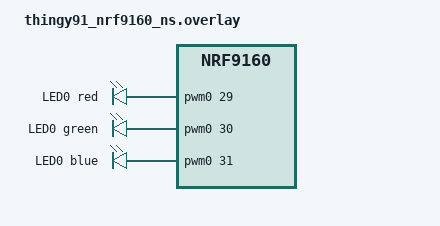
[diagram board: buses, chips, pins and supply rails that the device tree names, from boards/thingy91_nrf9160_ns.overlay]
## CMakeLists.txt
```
cmake_minimum_required(VERSION 3.20.0)

set(CMAKE_CXX_STANDARD 11)
set(CMAKE_CXX_STANDARD_REQUIRED ON)
set(CONFIG_LIB_CPLUSPLUS ON)
set(CONFIG_NEWLIB_LIBC ON)

find_package(Zephyr REQUIRED HINTS $ENV{ZEPHYR_BASE})
project(adxl362)

target_sources(app PRIVATE src/main.cpp)


if(NOT TARGET app)
     message(FATAL_ERROR "Please create a target named 'app' (ex: add_executable(app)) before adding this file")
endif()

include(edge-impulse-sdk/cmake/utils.cmake)
add_subdirectory(edge-impulse-sdk/cmake/zephyr)

RECURSIVE_FIND_FILE_APPEND(MODEL_SOURCE "tflite-model" "*.cpp")
target_include_directories(app PRIVATE .)
```

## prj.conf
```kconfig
# CONFIG_STDOUT_CONSOLE=y
CONFIG_UART_CONSOLE=y
CONFIG_LOG=y
CONFIG_BOOTLOADER_MCUBOOT=y
CONFIG_SERIAL=y
CONFIG_SPI=y
CONFIG_SENSOR=y
CONFIG_ADXL362=y
CONFIG_ADXL362_TRIGGER_GLOBAL_THREAD=y
CONFIG_ADXL362_INTERRUPT_MODE=1
CONFIG_ADXL362_ABS_REF_MODE=1
CONFIG_CBPRINTF_FP_SUPPORT=y

# Event Manager
CONFIG_EVENT_MANAGER=y
CONFIG_LINKER_ORPHAN_SECTION_PLACE=y
CONFIG_EVENT_MANAGER_LOG_EVENT_TYPE=n

# Enable C++ support
CONFIG_CPLUSPLUS=y
CONFIG_LIB_CPLUSPLUS=y
CONFIG_NEWLIB_LIBC=y
CONFIG_NEWLIB_LIBC_FLOAT_PRINTF=y
CONFIG_FPU=y

CONFIG_MAIN_STACK_SIZE=8192
CONFIG_CONSOLE_SUBSYS=y
CONFIG_CONSOLE_GETLINE=y

# CAF - Common Application Framework
CONFIG_CAF=y
CONFIG_LED=y
CONFIG_CAF_LEDS=y
CONFIG_PWM=y
CONFIG_LED_PWM=y
CONFIG_CAF_LEDS_PWM=y
```

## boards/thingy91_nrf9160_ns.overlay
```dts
/*
 * Copyright (c) 2021 Nordic Semiconductor ASA
 *
 * SPDX-License-Identifier: LicenseRef-Nordic-5-Clause
 */

 / {
	pwmleds0 {
		compatible = "pwm-leds";
		status = "okay";
		pwm_led0: led_pwm_0 {
			status = "okay";
			pwms = <&pwm0 29>;
			label = "LED0 red";
		};
		pwm_led1: led_pwm_1 {
			status = "okay";
			pwms = <&pwm0 30>;
			label = "LED0 green";
		};
		pwm_led2: led_pwm_2 {
			status = "okay";
			pwms = <&pwm0 31>;
			label = "LED0 blue";
		};
	};
};
```

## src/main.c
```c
/*
 * Copyright (c) 2019 Brett Witherspoon
 *
 * SPDX-License-Identifier: Apache-2.0
 */

#include <zephyr.h>
#include <sys/printk.h>
#include <devicetree.h>
#include <drivers/gpio.h>
//#include <stdio.h>
#include <device.h>
#include <drivers/sensor.h>




/* The devicetree node identifier for the nodelabel in the dts file. */
#define SW0_NODE DT_ALIAS(sw0)

#if !DT_NODE_HAS_STATUS(SW0_NODE, okay)
#error "Unsupported board: sw0 devicetree alias is not defined"
#endif

static const struct gpio_dt_spec button = GPIO_DT_SPEC_GET_OR(SW0_NODE, gpios,
							      {0});
static struct gpio_callback button_cb_data;


/* The devicetree node identifier for the nodelabel in the dts file. */
#define LED0_NODE DT_ALIAS(led0)

#if DT_NODE_HAS_STATUS(LED0_NODE, okay)
#define LED0	DT_GPIO_LABEL(LED0_NODE, gpios)
#define PIN		DT_GPIO_PIN(LED0_NODE, gpios)
#define FLAGS	DT_GPIO_FLAGS(LED0_NODE, gpios)
#else
/* A build error here means your board isn't set up to blink an LED. */
#error "Unsupported board: led0 devicetree alias is not defined"
#define LED0	""
#define PIN	0
#define FLAGS	0
#endif

/* The devicetree node identifier for the nodelabel in the dts file. */
#define LED1_NODE DT_ALIAS(led1)

#if DT_NODE_HAS_STATUS(LED1_NODE, okay)
#define LED0	DT_GPIO_LABEL(LED1_NODE, gpios)
#define PIN		DT_GPIO_PIN(LED1_NODE, gpios)
#define FLAGS	DT_GPIO_FLAGS(LED1_NODE, gpios)
#else
/* A build error here means your board isn't set up to blink an LED. */
#error "Unsupported board: led0 devicetree alias is not defined"
#define LED0	""
#define PIN	0
#define FLAGS	0
#endif

#define TIMER_INTERVAL_MSEC 60
#define TOTAL_DATA_POINTS 3000

K_SEM_DEFINE(sem, 0, 1);

struct k_timer data_sampling_timer;

bool collect_data_flag;
int count;

const struct device *dev;
struct sensor_value accel[3];

const struct device *ledred;
const struct device *ledgreen;

/*
	Sample the IMU
	@returns 0 if okay, otherwise returns 1

*/

static int imu_sample(void) {

	if (sensor_channel_get(dev, SENSOR_CHAN_ACCEL_X, &accel[0]) < 0) {
		printf("Channel get error\n");
		return 1;
	}

	if (sensor_channel_get(dev, SENSOR_CHAN_ACCEL_Y, &accel[1]) < 0) {
		printf("Channel get error\n");
		return 1;
	}

	if (sensor_channel_get(dev, SENSOR_CHAN_ACCEL_Z, &accel[2]) < 0) {
		printf("Channel get error\n");
		return 1;
	}

	printf("x: %.1f, y: %.1f, z: %.1f (m/s^2)\n",
		sensor_value_to_double(&accel[0]),
		sensor_value_to_double(&accel[1]),
		sensor_value_to_double(&accel[2]));
		count++;
		gpio_pin_set(ledred, PIN, true);

	return 0;

}

void imu_sample_event(struct k_timer *timer_id){
    int err = imu_sample();
    if (err) {
        printk("Error in adc sampling: %d\n", err);
    }
}

/*
	Interrput handler for the button
*/

void button_pressed(const struct device *dev, struct gpio_callback *cb,
		    uint32_t pins)
{
	collect_data_flag = true;	// set flag to collect data
	count = 0; 					// reset count

	// start timer for data sampling
	k_timer_start(&data_sampling_timer, K_MSEC(TIMER_INTERVAL_MSEC), K_MSEC(TIMER_INTERVAL_MSEC));

	// printk("Button pressed at %" PRIu32 "\n", k_cycle_get_32());

}

static void trigger_handler(const struct device *dev,
			    const struct sensor_trigger *trig)
{
	switch (trig->type) {
	case SENSOR_TRIG_DATA_READY:
		if (sensor_sample_fetch(dev) < 0) {
			printf("Sample fetch error\n");
			return;
		}
		k_sem_give(&sem);
		break;
	case SENSOR_TRIG_THRESHOLD:
		printf("Threshold trigger\n");
		break;
	case SENSOR_TRIG_FREEFALL:
		printf("Freefall trigger\n");
		break;
	default:
		printf("Unknown trigger\n");
	}
}

void main(void)
{
	// start a timer to sample the imu at a set interval
	k_timer_init(&data_sampling_timer, imu_sample_event, NULL);
	

	// set up LED
	int ret;
	bool led_on = true;
	
	ledred = device_get_binding(LED0);
	if (ledred==NULL) {
		printk("No device found!");
		return;
	}
	ret = gpio_pin_configure(ledred,PIN, GPIO_OUTPUT_ACTIVE | FLAGS);

	if (ret<0 ){
		return;
	}
	// gpio_pin_set(ledred, PIN, true);

	ledgreen = device_get_binding(LED0);
	if (ledgreen==NULL) {
		printk("No device found!");
		return;
	}
	ret = gpio_pin_configure(ledgreen,PIN, GPIO_OUTPUT_ACTIVE | FLAGS);

	if (ret<0 ){
		return;
	}

	gpio_pin_set(ledgreen, PIN, true);


	
	collect_data_flag = false;
	count = 0; // reset count

	// set up Buttons
	
	if (!device_is_ready(button.port)) {
		printk("Error: button device %s is not ready\n",
		       button.port->name);
		return;
	}

	ret = gpio_pin_configure_dt(&button, GPIO_INPUT);
	if (ret != 0) {
		printk("Error %d: failed to configure %s pin %d\n",
		       ret, button.port->name, button.pin);
		return;
	}

	ret = gpio_pin_interrupt_configure_dt(&button,
					      GPIO_INT_EDGE_TO_ACTIVE);
	if (ret != 0) {
		printk("Error %d: failed to configure interrupt on %s pin %d\n",
			ret, button.port->name, button.pin);
		return;
	}

	gpio_init_callback(&button_cb_data, button_pressed, BIT(button.pin));
	gpio_add_callback(button.port, &button_cb_data);


	// set up IMU

	dev = device_get_binding(DT_LABEL(DT_INST(0, adi_adxl362)));
	if (dev == NULL) {
		printf("Device get binding device\n");
		return;
	}

	if (IS_ENABLED(CONFIG_ADXL362_TRIGGER)) {
		struct sensor_trigger trig = { .chan = SENSOR_CHAN_ACCEL_XYZ };

		trig.type = SENSOR_TRIG_THRESHOLD;
		if (sensor_trigger_set(dev, &trig, trigger_handler)) {
			printf("Trigger set error\n");
			return;
		}

		trig.type = SENSOR_TRIG_DATA_READY;
		if (sensor_trigger_set(dev, &trig, trigger_handler)) {
			printf("Trigger set error\n");
		}

		trig.type = SENSOR_TRIG_FREEFALL;
		if (sensor_trigger_set(dev, &trig, trigger_handler)) {
			printf("Trigger set error\n");
		}
	}

	gpio_pin_set(ledgreen, PIN, false);	// setup complete
	k_sleep(K_MSEC(1000));

	while (true) {
		if (IS_ENABLED(CONFIG_ADXL362_TRIGGER)) {
			k_sem_take(&sem, K_FOREVER);
		} else {
			
			k_sleep(K_MSEC(1000));
			if (sensor_sample_fetch(dev) < 0) {
				printf("Sample fetch error\n");
				return;
			}	
		}

		// if the collect_data_flag has been set and 

		if (collect_data_flag && count < TOTAL_DATA_POINTS ) {
			// continue to collect data
			gpio_pin_set(ledred, PIN, true);
		}
		else if (collect_data_flag && (count >= TOTAL_DATA_POINTS) ) {
			// stop the periodic timer
			k_timer_stop(&data_sampling_timer);
			collect_data_flag = false;
			gpio_pin_set(ledred, PIN, false);
		}
			
	}
}
```

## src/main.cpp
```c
/*
 * Copyright (c) 2019 Brett Witherspoon
 *
 * SPDX-License-Identifier: Apache-2.0
 */


//#define LTE_ON // turn on LTE for the device


#include <zephyr.h>
#include <sys/printk.h>
#include <devicetree.h>
#include <drivers/gpio.h>

#include <device.h>
#include <drivers/sensor.h>
#include "edge-impulse-sdk/classifier/ei_run_classifier.h"
#include "edge-impulse-sdk/dsp/numpy.hpp"
#include <algorithm>

#ifdef LTE_ON
#include <string.h>
#include <stdlib.h>
#include <net/socket.h>
#include <modem/nrf_modem_lib.h>
#include <net/tls_credentials.h>
#include <modem/lte_lc.h>
#include <modem/modem_key_mgmt.h>
#include <stdio.h>
#endif


/* The devicetree node identifier for the nodelabel in the dts file. */
#define SW0_NODE DT_ALIAS(sw0)

#if !DT_NODE_HAS_STATUS(SW0_NODE, okay)
#error "Unsupported board: sw0 devicetree alias is not defined"
#endif

static const struct gpio_dt_spec button = GPIO_DT_SPEC_GET_OR(SW0_NODE, gpios,
							      {0});
static struct gpio_callback button_cb_data;


/* The devicetree node identifier for the nodelabel in the dts file. */
// RED
#define LED0_NODE DT_ALIAS(led0)

#if DT_NODE_HAS_STATUS(LED0_NODE, okay)
#define LED0	DT_GPIO_LABEL(LED0_NODE, gpios)
#define PIN		DT_GPIO_PIN(LED0_NODE, gpios)
#define FLAGS	DT_GPIO_FLAGS(LED0_NODE, gpios)
#else
/* A build error here means your board isn't set up to blink an LED. */
#error "Unsupported board: led0 devicetree alias is not defined"
#define LED0	""
#define PIN	0
#define FLAGS	0
#endif

/* The devicetree node identifier for the nodelabel in the dts file. */
// GREEN
#define LED1_NODE DT_ALIAS(led1)

#if DT_NODE_HAS_STATUS(LED1_NODE, okay)
#define LED1	DT_GPIO_LABEL(LED1_NODE, gpios)
#define PIN1	DT_GPIO_PIN(LED1_NODE, gpios)
#define FLAGS1	DT_GPIO_FLAGS(LED1_NODE, gpios)
#else
/* A build error here means your board isn't set up to blink an LED. */
#error "Unsupported board: led0 devicetree alias is not defined"
#define LED0	""
#define PIN	0
#define FLAGS	0
#endif

#define TIMER_INTERVAL_MSEC 60
#define TOTAL_DATA_POINTS 3000

#define PRINT_ACCEL_DATA false
#define ANOMALY_LIMIT 1.4



K_SEM_DEFINE(sem, 0, 1);
K_SEM_DEFINE(data_ready,0,1);

struct k_timer data_sampling_timer;

/*
	Controls start and stop of the data sampling timer
*/
bool collect_data_flag; 
int count;

const struct device *dev;
struct sensor_value accel[3];

const struct device *ledred;
const struct device *ledgreen;


/*
	Features are determined by x,y,z,v,x,y,z,v...
*/
int features_index = 0; // used to keep track of the first fill of the data buffer
int sample_counter = 0; // counter to indicate when a new frame is ready

static float features[EI_CLASSIFIER_DSP_INPUT_FRAME_SIZE];


/*
	This timer starts the countdown to cancel 
*/
struct k_timer alert_countdown_timer;

// User has 15 seconds to cancel message
// shortened to 1.5 sec for testing
#define COUNTDOWN_INTERVAL_MSEC 1500

#define HTTPS_PORT 443

#define HTTPS_HOSTNAME "proud-wind-646.super-hokio.workers.dev"

#define HTTP_HEAD                                                              \
	"HEAD / HTTP/1.1\r\n"                                                  	\
	"Host: " HTTPS_HOSTNAME "\r\n"                                     	\
	"Accept: */*\r\n"														\
	"Connection: close\r\n\r\n"													



#define HTTP_HEAD_LEN (sizeof(HTTP_HEAD) - 1)

#define HTTP_HDR_END "\r\n\r\n"

#define RECV_BUF_SIZE 2048
#define TLS_SEC_TAG 42

//static const char send_buf[] = HTTP_HEAD;
static char recv_buf[RECV_BUF_SIZE];

// controls the sending of alerts
bool send_alert=false;

/* Set up variable buffer for sending messages */
char send_buf[500];

#define POST_TEMPLATE "POST / HTTP/1.1\r\n"\
		"Host: " HTTPS_HOSTNAME "\r\n"\
		"Connection: close\r\n"\
		"Content-Type: application/json\r\n"\
		"Content-length: %d\r\n\r\n"\
		"%s"

#define TEST_DATA "{\"type\":\"alert\"}\r\n\r\n"


/* Certificate for the website */
static const char cert[] = {
	#include "../cert/ISRGRootX1CA.pem"
};

BUILD_ASSERT(sizeof(cert) < KB(4), "Certificate too large");


#ifdef LTE_ON
/* Provision certificate to modem */
int cert_provision(void)
{
	int err;
	bool exists;
	int mismatch;

	/* It may be sufficient for you application to check whether the correct
	 * certificate is provisioned with a given tag directly using modem_key_mgmt_cmp().
	 * Here, for the sake of the completeness, we check that a certificate exists
	 * before comparing it with what we expect it to be.
	 */
	err = modem_key_mgmt_exists(TLS_SEC_TAG, MODEM_KEY_MGMT_CRED_TYPE_CA_CHAIN, &exists);
	if (err) {
		printk("Failed to check for certificates err %d\n", err);
		return err;
	}

	if (exists) {
		mismatch = modem_key_mgmt_cmp(TLS_SEC_TAG,
					      MODEM_KEY_MGMT_CRED_TYPE_CA_CHAIN,
					      cert, strlen(cert));
		if (!mismatch) {
			printk("Certificate match\n");
			return 0;
		}

		printk("Certificate mismatch\n");
		err = modem_key_mgmt_delete(TLS_SEC_TAG, MODEM_KEY_MGMT_CRED_TYPE_CA_CHAIN);
		if (err) {
			printk("Failed to delete existing certificate, err %d\n", err);
		}
	}

	printk("Provisioning certificate\n");

	/*  Provision certificate to the modem */
	err = modem_key_mgmt_write(TLS_SEC_TAG,
				   MODEM_KEY_MGMT_CRED_TYPE_CA_CHAIN,
				   cert, sizeof(cert) - 1);
	if (err) {
		printk("Failed to provision certificate, err %d\n", err);
		return err;
	}

	return 0;
}

/* Setup TLS options on a given socket */
int tls_setup(int fd)
{
	int err;
	int verify;

	/* Security tag that we have provisioned the certificate with */
	const sec_tag_t tls_sec_tag[] = {
		TLS_SEC_TAG,
	};

#if defined(CONFIG_SAMPLE_TFM_MBEDTLS)
	err = tls_credential_add(tls_sec_tag[0], TLS_CREDENTIAL_CA_CERTIFICATE, cert, sizeof(cert));
	if (err) {
		return err;
	}
#endif

	/* Set up TLS peer verification */
	enum {
		NONE = 0,
		OPTIONAL = 1,
		REQUIRED = 2,
	};

	verify = REQUIRED;

	err = setsockopt(fd, SOL_TLS, TLS_PEER_VERIFY, &verify, sizeof(verify));
	if (err) {
		printk("Failed to setup peer verification, err %d\n", errno);
		return err;
	}

	/* Associate the socket with the security tag
	 * we have provisioned the certificate with.
	 */
	err = setsockopt(fd, SOL_TLS, TLS_SEC_TAG_LIST, tls_sec_tag,
			 sizeof(tls_sec_tag));
	if (err) {
		printk("Failed to setup TLS sec tag, err %d\n", errno);
		return err;
	}

	err = setsockopt(fd, SOL_TLS, TLS_HOSTNAME, HTTPS_HOSTNAME, sizeof(HTTPS_HOSTNAME) - 1);
	if (err) {
		printk("Failed to setup TLS hostname, err %d\n", errno);
		return err;
	}
	return 0;
}

/*
	Setup an LTE connection
*/

void setup_connection() {
		int err;
	int fd;
	char *p;
	int bytes;
	size_t off;
	struct addrinfo *res;
	struct addrinfo hints = {
		.ai_family = AF_INET,
		.ai_socktype = SOCK_STREAM,
	};

	int send_data_len;

	send_data_len = snprintf(send_buf,500,POST_TEMPLATE,15,TEST_DATA);

	printk("HTTPS client sample started\n\r");

	

#if !defined(CONFIG_SAMPLE_TFM_MBEDTLS)
	/* Provision certificates before connecting to the LTE network */
	err = cert_provision();
	if (err) {
		return;
	}
#endif

	printk("Waiting for network.. ");
	err = lte_lc_init_and_connect();
	if (err) {
		printk("Failed to connect to the LTE network, err %d\n", err);
		return;
	}
	printk("OK\n");


	err = getaddrinfo(HTTPS_HOSTNAME, NULL, &hints, &res);
	if (err) {
		printk("getaddrinfo() failed, err %d\n", errno);
		return;
	}

	((struct sockaddr_in *)res->ai_addr)->sin_port = htons(HTTPS_PORT);

	if (IS_ENABLED(CONFIG_SAMPLE_TFM_MBEDTLS)) {
		fd = socket(AF_INET, SOCK_STREAM | SOCK_NATIVE_TLS, IPPROTO_TLS_1_2);
	} else {
		fd = socket(AF_INET, SOCK_STREAM, IPPROTO_TLS_1_2);
	}
	if (fd == -1) {
		printk("Failed to open socket!\n");
		goto clean_up;
	}

	/* Setup TLS socket options */
	err = tls_setup(fd);
	if (err) {
		goto clean_up;
	}
	

}

/*
	Send an alert to a waiting endpoint
*/

void send_alert() {
	printk("Connecting to %s\n", HTTPS_HOSTNAME);
	err = connect(fd, res->ai_addr, sizeof(struct sockaddr_in));
	if (err) {
		printk("connect() failed, err: %d\n", errno);
		goto clean_up;
	}
		off = 0;

	do {
		bytes = send(fd, &send_buf[off],send_data_len - off, 0);
		if (bytes < 0) {
			printk("send() failed, err %d\n", errno);
			goto clean_up;
		}
		off += bytes;
	} while (off < send_data_len );

	printk("Sent %d bytes\n", off);

	off = 0;
	do {
		bytes = recv(fd, &recv_buf[off], RECV_BUF_SIZE - off, 0);
		if (bytes < 0) {
			printk("recv() failed, err %d\n", errno);
			goto clean_up;
		}
		off += bytes;
	} while (bytes != 0 /* peer closed connection */);

	printk("%s\r\n",recv_buf);

	printk("Received %d bytes\n", off);

	/* Print HTTP response */
	p = strstr(recv_buf, "\r\n");
	if (p) {
		off = p - recv_buf;
		recv_buf[off + 1] = '\0';
		printk("\n>\t %s\n\n", recv_buf);
	}

	printk("Finished, closing socket.\n");

clean_up:
	freeaddrinfo(res);
	(void)close(fd);

	lte_lc_power_off();
}


#endif

/*
	Sample the IMU
	@returns 0 if okay, otherwise returns 1

*/

static int imu_sample(void) {

	if (sensor_channel_get(dev, SENSOR_CHAN_ACCEL_X, &accel[0]) < 0) {
		printf("Channel get error\n");
		return 1;
	}

	if (sensor_channel_get(dev, SENSOR_CHAN_ACCEL_Y, &accel[1]) < 0) {
		printf("Channel get error\n");
		return 1;
	}

	if (sensor_channel_get(dev, SENSOR_CHAN_ACCEL_Z, &accel[2]) < 0) {
		printf("Channel get error\n");
		return 1;
	}

	float x = sensor_value_to_double(&accel[0]);
	float y = sensor_value_to_double(&accel[1]);
	float z = sensor_value_to_double(&accel[2]);

	float v = sqrt(pow(x,2.0)+pow(y,2.0)+pow(z,2.0));

	if (PRINT_ACCEL_DATA) {
			printf("x: %.1f, y: %.1f, z: %.1f, v: %.1f (m/s^2)\n",
		x,
		y,
		z,
		v);
	}


	
	// implement a queue like feature
	if (features_index==EI_CLASSIFIER_DSP_INPUT_FRAME_SIZE) {

		// insert into first set
		features[0] = x;
		features[1] = y;
		features[2] = z;
		features[3] = v;

		// utilize cpp rotate
		std::rotate(&features[0],&features[4],&features[EI_CLASSIFIER_DSP_INPUT_FRAME_SIZE]);



		// shift all elements in the array to the right by 4 (removing one sample)
		/*
		for(int i=0;i<last_set;++i) {
			features[i*4] =	features[i*4+4];
			features[i*4+1] =  features[i*4+5];
			features[i*4+2] =  features[i*4+6];
			features[i*4+3] =  features[i*4+7];
		}
		*/


	} else {

		// fill up the features buffer
		features[features_index] = x;
		features[features_index+1] = y;
		features[features_index+2] = z;
		features[features_index+3] = v;
		features_index = features_index+4;
	}

	// the sample counter will keep track of each new sample set

	if (sample_counter==EI_CLASSIFIER_RAW_SAMPLE_COUNT) {
		sample_counter = 0;
	} else {
		sample_counter = sample_counter + 1;
	}

	count++;

	
	return 0;

}
void send_alert_event(struct k_timer *timer_id){
	#ifdef LTE_ON
    int err = send_alert();
    if (err) {
        printk("Error in alert sending: %d\n", err);
    }
	#endif
	// flash to indicate that the message has been sent
	printk("Alert sent!\r\n");
	for (auto i=0; i<5; ++i) {
		gpio_pin_set(ledgreen, PIN1, true);
		k_sleep(K_MSEC(500));
		gpio_pin_set(ledgreen, PIN1, false);
		k_sleep(K_MSEC(500));
	}
	send_alert = false; // alert has been sent
}


void imu_sample_event(struct k_timer *timer_id){
    int err = imu_sample();
    if (err) {
        printk("Error in adc sampling: %d\n", err);
    }
}

/*
	Interrupt handler for the button
*/

void button_pressed(const struct device *dev, struct gpio_callback *cb,
		    uint32_t pins)
{
	// use button as toggle
	if (collect_data_flag) {
		// stop collecting data
		collect_data_flag = false;
		k_timer_stop(&data_sampling_timer);
		gpio_pin_set(ledred, PIN, false);

	} else {
		collect_data_flag = true;	// set flag to collect data
		gpio_pin_set(ledred, PIN, true);
		// start timer for data sampling
		k_timer_start(&data_sampling_timer, K_MSEC(TIMER_INTERVAL_MSEC), K_FOREVER);

	} 

	if (send_alert) {
		printk("Alert cancelled");
		// cancel the alert
		send_alert = false;
		k_timer_stop(&alert_countdown_timer);
		gpio_pin_set(ledgreen, PIN1, false);
	}
	// printk("Button pressed at %" PRIu32 "\n", k_cycle_get_32());

}





static void trigger_handler(const struct device *dev,
			    const struct sensor_trigger *trig)
{
	switch (trig->type) {
	case SENSOR_TRIG_DATA_READY:
		if (sensor_sample_fetch(dev) < 0) {
			printf("Sample fetch error\n");
			return;
		}
		k_sem_give(&sem);
		break;
	case SENSOR_TRIG_THRESHOLD:
		printf("Threshold trigger\n");
		break;
	case SENSOR_TRIG_FREEFALL:
		printf("Freefall trigger\n");
		break;
	default:
		printf("Unknown trigger\n");
	}
}

int raw_feature_get_data(size_t offset, size_t length, float *out_ptr) {
    memcpy(out_ptr, features + offset, length * sizeof(float));
    return 0;
}

void main(void)
{
	// set up a timer to sample the imu at a set interval
	k_timer_init(&data_sampling_timer, imu_sample_event, NULL);
	// set up a timer to alert the lte
	k_timer_init(&alert_countdown_timer, send_alert_event, NULL);
	

	// set up LED
	int ret;
	bool led_on = true;
	
	ledred = device_get_binding(LED0);
	if (ledred==NULL) {
		printk("No device found!");
		return;
	}
	ret = gpio_pin_configure(ledred,PIN, GPIO_OUTPUT_ACTIVE | FLAGS);

	if (ret<0 ){
		return;
	}
	gpio_pin_set(ledred, PIN, false);

	ledgreen = device_get_binding(LED1);
	if (ledgreen==NULL) {
		printk("No device found!");
		return;
	}
	ret = gpio_pin_configure(ledgreen,PIN1, GPIO_OUTPUT_ACTIVE | FLAGS1);

	if (ret<0 ){
		return;
	}

	gpio_pin_set(ledgreen, PIN1, true);


	
	collect_data_flag = false;
	count = 0; // reset count

	// set up Buttons
	
	if (!device_is_ready(button.port)) {
		printk("Error: button device %s is not ready\n",
		       button.port->name);
		return;
	}

	ret = gpio_pin_configure_dt(&button, GPIO_INPUT);
	if (ret != 0) {
		printk("Error %d: failed to configure %s pin %d\n",
		       ret, button.port->name, button.pin);
		return;
	}

	ret = gpio_pin_interrupt_configure_dt(&button,
					      GPIO_INT_EDGE_TO_ACTIVE);
	if (ret != 0) {
		printk("Error %d: failed to configure interrupt on %s pin %d\n",
			ret, button.port->name, button.pin);
		return;
	}

	gpio_init_callback(&button_cb_data, button_pressed, BIT(button.pin));
	gpio_add_callback(button.port, &button_cb_data);


	// set up IMU

	dev = device_get_binding(DT_LABEL(DT_INST(0, adi_adxl362)));
	if (dev == NULL) {
		printf("Device get binding device\n");
		return;
	}

	if (IS_ENABLED(CONFIG_ADXL362_TRIGGER)) {
		struct sensor_trigger trig = { .chan = SENSOR_CHAN_ACCEL_XYZ };

		trig.type = SENSOR_TRIG_THRESHOLD;
		if (sensor_trigger_set(dev, &trig, trigger_handler)) {
			printf("Trigger set error\n");
			return;
		}

		trig.type = SENSOR_TRIG_DATA_READY;
		if (sensor_trigger_set(dev, &trig, trigger_handler)) {
			printf("Trigger set error\n");
		}

		trig.type = SENSOR_TRIG_FREEFALL;
		if (sensor_trigger_set(dev, &trig, trigger_handler)) {
			printf("Trigger set error\n");
		}
	}

	gpio_pin_set(ledgreen, PIN1, false);	// setup complete
	
	// setup impulse result
	ei_impulse_result_t result = { 0 };

	
	k_sleep(K_MSEC(1000));



	while (true) {

		// the features are stored into flash, and we don't want to load everything into RAM
		if (sample_counter==EI_CLASSIFIER_RAW_SAMPLE_COUNT) {
			// new frame is ready
			printk("Features array full, starting computation.\n");

			signal_t features_signal;
			features_signal.total_length = sizeof(features) / sizeof(features[0]);
			features_signal.get_data = &raw_feature_get_data;

			// invoke the impulse, turn off the debug
			EI_IMPULSE_ERROR res = run_classifier(&features_signal, &result, false);
			printk("run_classifier returned: %d\n", res);

			if (res != 0) printk("Error detected!");

			printk("Predictions (DSP: %d ms., Classification: %d ms., Anomaly: %d ms.): \n",
				result.timing.dsp, result.timing.classification, result.timing.anomaly);

			// print the predictions
			printk("[");
			for (size_t ix = 0; ix < EI_CLASSIFIER_LABEL_COUNT; ix++) {
				ei_printf_float(result.classification[ix].value);
			#if EI_CLASSIFIER_HAS_ANOMALY == 1
						printk(", ");
			#else
						if (ix != EI_CLASSIFIER_LABEL_COUNT - 1) {
							printk(", ");
						}
			#endif
					}
			#if EI_CLASSIFIER_HAS_ANOMALY == 1
					ei_printf_float(result.anomaly);
					printk("%f",result.anomaly);
					
					if(result.anomaly>ANOMALY_LIMIT) {
						printk("Over Anomaly limit");
						gpio_pin_set(ledgreen, PIN1, true);
						send_alert = true;

						// wait for cancellation
						// send data to cloud
						#ifdef LTE_ON
						// only set it up here if 
						setup_lte_connection();

						#endif
						// set up a timer that will send out an alert if the button is not pressed
						printk("Starting timer\r\n");
						// start the one shot timer - cancel by pressing the multi-use button
						k_timer_start(&alert_countdown_timer, K_MSEC(COUNTDOWN_INTERVAL_MSEC),K_MSEC(COUNTDOWN_INTERVAL_MSEC));

					} else {
						printk("Ok\r\n");
						/*
						if(!send_alert) {
							gpio_pin_set(ledgreen, PIN1, false);

						}
						*/
						
					}
			#endif
					printk("]\n");
			
			// not necessary to reset the buffer because it is a queue with a counter to keep track when the next sample set is ready
			
		} else {
			if (collect_data_flag) {
				//printk("Progress: %u/%d\n",sample_counter,EI_CLASSIFIER_RAW_SAMPLE_COUNT);
			    // continue to collect data
			}
			
		}


		// Standard main loop

		if (IS_ENABLED(CONFIG_ADXL362_TRIGGER)) {
			k_sem_take(&sem, K_FOREVER);
		} else {
			
			k_sleep(K_MSEC(1000));
			if (sensor_sample_fetch(dev) < 0) {
				printf("Sample fetch error\n");
				return;
			}	
		}

		/*

		// if the collect_data_flag has been set 

		if (collect_data_flag && count < TOTAL_DATA_POINTS ) {
			// continue to collect data
			gpio_pin_set(ledred, PIN, true);
		}
		else if (collect_data_flag && (count >= TOTAL_DATA_POINTS) ) {
			// stop the periodic timer
			k_timer_stop(&data_sampling_timer);
			collect_data_flag = false;
			gpio_pin_set(ledred, PIN, false);
		}
		*/
			
	}
}
```
